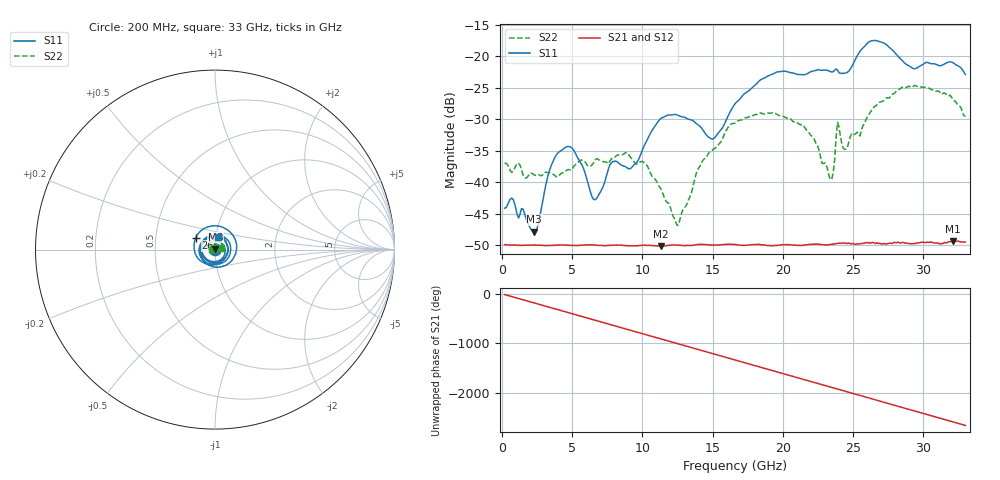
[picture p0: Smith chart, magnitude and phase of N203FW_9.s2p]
# GHZ S RI R 50
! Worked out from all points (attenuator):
!   329 points, 200 MHz to 33 GHz, reference 50 ohm
!   highest |S21| = -49.38 dB at 32.1 GHz (marker M1); lowest = -50.2 dB at 11.3 GHz (marker M2)
!   lowest |S11| = -47.9 dB at 2.3 GHz (marker M3), VSWR 1.01, Z = 50.2 + j0.356 ohm
!   |S11| at or under -10 dB: start of sweep to end of sweep
!   |S22| runs from -46.9 to -24.7 dB; largest |S21 - S12| = 8.8e-05
!   S11 on the Smith chart (normalised r, x): 200 MHz: 1.01, -0.00; 26 GHz: 0.80, +0.11; 33 GHz: 1.03, +0.14
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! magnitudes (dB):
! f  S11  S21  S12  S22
! 200 MHz  -44.1  -50.0  -49.9  -37.0
! 800 MHz  -42.7  -50.0  -50.0  -38.3
! 2.3 GHz  -47.9  -50.0  -50.0  -38.9
! 3.9 GHz  -35.6  -50.0  -50.0  -39.2
! 5.7 GHz  -37.3  -50.0  -50.0  -36.5
! 6.7 GHz  -42.7  -50.0  -50.0  -36.3
! 7.8 GHz  -37.0  -50.0  -50.0  -36.3
! 8.9 GHz  -37.7  -50.1  -50.1  -35.3
! 11.2 GHz  -30.2  -50.2  -50.2  -40.7
! 11.3 GHz  -29.9  -50.2  -50.2  -41.0
! 12.5 GHz  -29.4  -50.0  -50.0  -46.9
! 15 GHz  -33.2  -50.0  -50.0  -34.9
! 16.6 GHz  -27.6  -49.9  -49.9  -30.6
! 19.4 GHz  -22.7  -50.1  -50.1  -29.0
! 22.1 GHz  -22.4  -49.9  -49.8  -32.7
! 23.4 GHz  -22.5  -49.9  -49.9  -39.6
! 23.9 GHz  -22.2  -49.8  -49.8  -30.5
! 24.4 GHz  -22.7  -49.7  -49.6  -34.8
! 26 GHz  -18.0  -49.7  -49.6  -29.7
! 27.6 GHz  -18.6  -49.7  -49.7  -26.6
! 32.1 GHz  -21.0  -49.4  -49.3  -26.9
! 33 GHz  -22.9  -49.5  -49.6  -29.6
